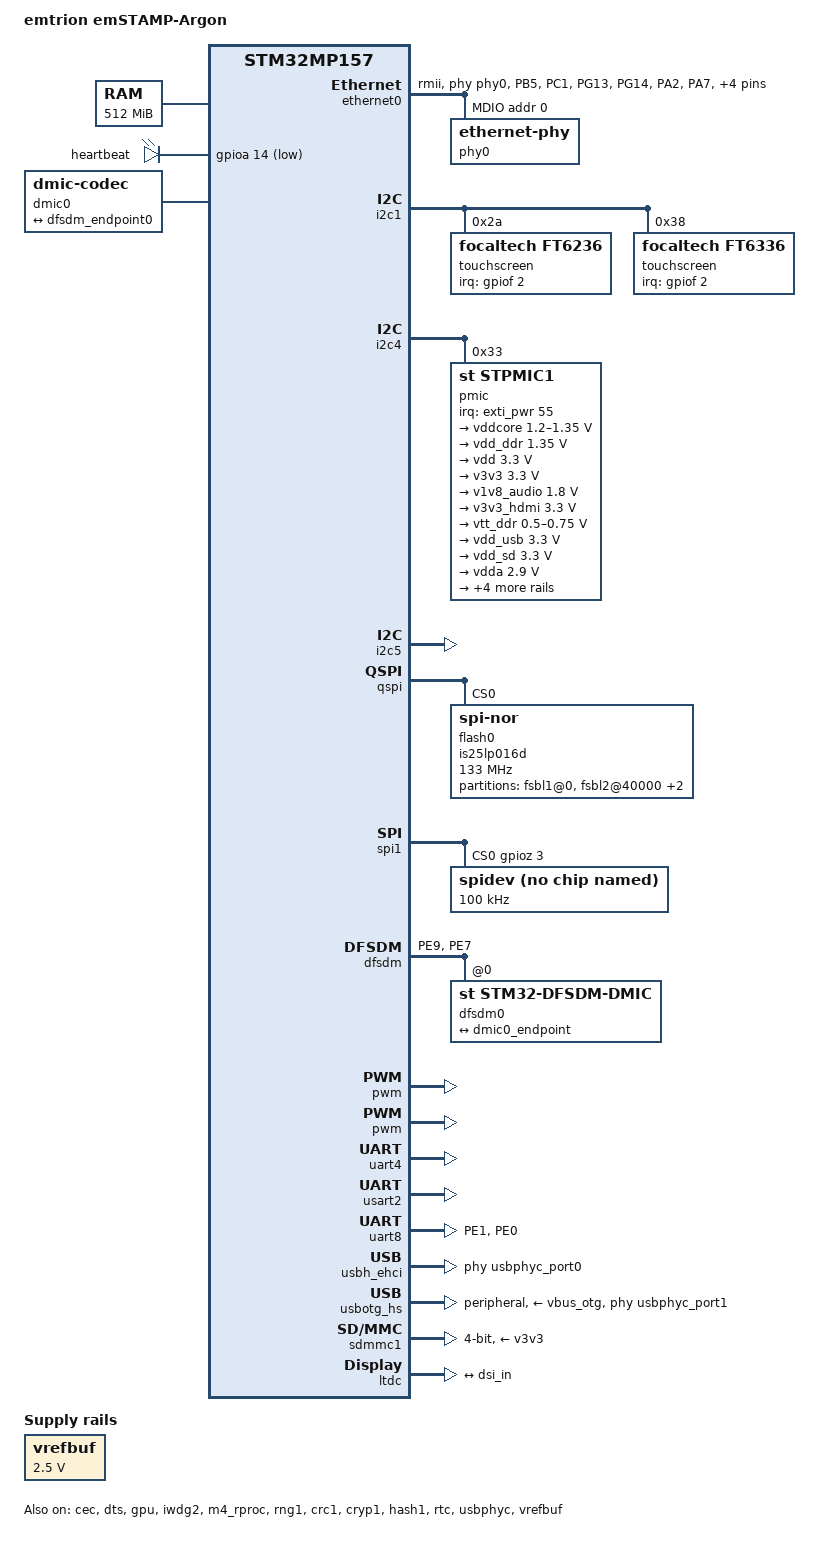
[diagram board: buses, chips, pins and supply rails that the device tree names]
// SPDX-License-Identifier: (GPL-2.0+ OR BSD-3-Clause)
/*
 * Copyright (C) emtrion GmbH 2021 - All Rights Reserved
 * Author: Jan von Wiarda <jan.vonwiarda@emtrion.de>.
 */

#include "stm32mp157.dtsi"
#include "stm32mp15xc.dtsi"
#include "stm32mp15-pinctrl.dtsi"
#include "stm32mp15xxac-pinctrl.dtsi"
#include "stm32mp157-m4-srm.dtsi"
#include "stm32mp157-m4-srm-pinctrl.dtsi"
#include <dt-bindings/gpio/gpio.h>
#include <dt-bindings/input/input.h>
#include <dt-bindings/mfd/st,stpmic1.h>
#include <dt-bindings/rtc/rtc-stm32.h>

/ {
	model = "emtrion emSTAMP-Argon";
	compatible = "emtrion,stm32mp157c-emstamp-argon", "st,stm32mp157";

	aliases {
		ethernet0 = &ethernet0;
		serial0 = &uart4;
		serial1 = &usart3;
		serial2 = &uart7;
		serial3 = &uart8;
		serial4 = &usart2;
	};

	chosen {
		stdout-path = "serial0:115200n8";
	};

	memory@c0000000 {
		reg = <0xc0000000 0x20000000>;
	};

	reserved-memory {
		#address-cells = <1>;
		#size-cells = <1>;
		ranges;

		retram: retram@0x38000000 {
			compatible = "shared-dma-pool";
			reg = <0x38000000 0x10000>;
			no-map;
		};

		mcuram: mcuram@0x30000000 {
			compatible = "shared-dma-pool";
			reg = <0x30000000 0x40000>;
			no-map;
		};

		mcuram2: mcuram2@0x10000000 {
			compatible = "shared-dma-pool";
			reg = <0x10000000 0x40000>;
			no-map;
		};

		vdev0vring0: vdev0vring0@10040000 {
			compatible = "shared-dma-pool";
			reg = <0x10040000 0x2000>;
			no-map;
		};

		vdev0vring1: vdev0vring1@10042000 {
			compatible = "shared-dma-pool";
			reg = <0x10042000 0x2000>;
			no-map;
		};

		vdev0buffer: vdev0buffer@10044000 {
			compatible = "shared-dma-pool";
			reg = <0x10044000 0x4000>;
			no-map;
		};

		gpu_reserved: gpu@dc000000 {
			reg = <0xdc000000 0x4000000>;
			no-map;
		};
	};

	led {
		compatible = "gpio-leds";
		green {
			label = "heartbeat";
			gpios = <&gpioa 14 GPIO_ACTIVE_LOW>;
			linux,default-trigger = "heartbeat";
			default-state = "on";
		};
	};

	sound: sound {
		compatible = "audio-graph-card";
		label = "Supercalifragilisticexpialigetisch";
		dais = <&dfsdm0_port>;
		status = "okay";
	};

	dmic0: dmic-0 {
		compatible = "dmic-codec";
		#sound-dai-cells = <1>;
		status = "okay";

		port {
			dmic0_endpoint: endpoint {
				remote-endpoint = <&dfsdm_endpoint0>;
			};
		};
	};

	usb_phy_tuning: usb-phy-tuning {
		st,hs-dc-level = <2>;
		st,fs-rftime-tuning;
		st,hs-rftime-reduction;
		st,hs-current-trim = <15>;
		st,hs-impedance-trim = <1>;
		st,squelch-level = <3>;
		st,hs-rx-offset = <2>;
		st,no-lsfs-sc;
	};
};

&pinctrl {
	ethernet0_rmii_pins: eth0_mx-0 {
		pins1 {
			pinmux = <STM32_PINMUX('B', 5, AF0)>, /* ETH1_CLK */
				<STM32_PINMUX('C', 1, AF11)>, /* ETH1_MDC */
				<STM32_PINMUX('G', 13, AF11)>, /* ETH1_TXD0 */
				<STM32_PINMUX('G', 14, AF11)>; /* ETH1_TXD1 */
			bias-disable;
			drive-push-pull;
			slew-rate = <1>;
		};
		pins2 {
			pinmux = <STM32_PINMUX('A', 2, AF11)>; /* ETH1_MDIO */
			bias-disable;
			drive-push-pull;
			slew-rate = <0>;
		};
		pins3 {
			pinmux = <STM32_PINMUX('A', 7, AF11)>, /* ETH1_CRS_DV */
				<STM32_PINMUX('C', 4, AF11)>, /* ETH1_RXD0 */
				<STM32_PINMUX('C', 5, AF11)>; /* ETH1_RXD1 */
			bias-disable;
		};
		pins4 {
			pinmux = <STM32_PINMUX('B', 11, AF11)>; /* ETH1_TX_EN */
		};
	};
	ethernet0_rmii_pins_sleep: eth1_sleep_mx-0 {
		pins {
			pinmux = <STM32_PINMUX('A', 2, ANALOG)>, /* ETH1_MDIO */
				<STM32_PINMUX('A', 7, ANALOG)>, /* ETH1_CRS_DV */
				<STM32_PINMUX('B', 5, ANALOG)>, /* ETH1_CLK */
				<STM32_PINMUX('B', 11, ANALOG)>, /* ETH1_TX_EN */
				<STM32_PINMUX('C', 1, ANALOG)>, /* ETH1_MDC */
				<STM32_PINMUX('C', 4, ANALOG)>, /* ETH1_RXD0 */
				<STM32_PINMUX('C', 5, ANALOG)>, /* ETH1_RXD1 */
				<STM32_PINMUX('G', 13, ANALOG)>, /* ETH1_TXD0 */
				<STM32_PINMUX('G', 14, ANALOG)>; /* ETH1_TXD1 */
		};
	};

	dfsdm0_clkout_pins_a: dfsdm0-clkout-pins-0 {
		pins {
			pinmux = <STM32_PINMUX('E', 9, AF3)>; /* DFSDM_CKOUT */
			bias-disable;
			drive-push-pull;
			slew-rate = <0>;
		};
	};

	dfsdm0_clkout_sleep_pins_a: dfsdm0-clkout-sleep-pins-0 {
		pins {
			pinmux = <STM32_PINMUX('E', 9, ANALOG)>; /* DFSDM_CKOUT */
		};
	};

	dfsdm0_data2_pins_a: dfsdm0-data2-pins-0 {
		pins {
			pinmux = <STM32_PINMUX('E', 7, AF3)>; /* DFSDM_DATA2 */
		};
	};

	dfsdm0_data2_sleep_pins_a: dfsdm0-data2-sleep-pins-0 {
		pins {
			pinmux = <STM32_PINMUX('E', 7, ANALOG)>; /* DFSDM_DATA2 */
		};
	};

	pwm1_pins_a: pwm1-0 {
		pins {
			pinmux = <STM32_PINMUX('E', 9, AF1)>; /* TIM1_CH1 */
			bias-pull-down;
			drive-push-pull;
			slew-rate = <0>;
		};
	};

	pwm1_sleep_pins_a: pwm1-sleep-0 {
		pins {
			pinmux = <STM32_PINMUX('E', 9, ANALOG)>; /* TIM1_CH1 */
		};
	};

	uart8_pins_a: uart8-0 {
		pins1 {
			pinmux = <STM32_PINMUX('E', 1, AF8)>; /* UART8_TX */
			bias-disable;
			drive-push-pull;
			slew-rate = <0>;
		};
		pins2 {
			pinmux = <STM32_PINMUX('E', 0, AF8)>; /* UART8_RX */
			bias-disable;
		};
	};

	uart8_sleep_pins_a: uart8-sleep-0 {
		pins {
			pinmux = <STM32_PINMUX('E', 1, ANALOG)>, /* UART8_TX */
				<STM32_PINMUX('E', 0, ANALOG)>; /* UART8_RX */
		};
	};
};

&adc {
	pinctrl-names = "default";
	pinctrl-0 = <&m4_adc12_usb_pwr_pins_a>;
	vdd-supply = <&vdd>;
	vdda-supply = <&vdd>;
	vref-supply = <&vrefbuf>;
	status = "disabled";
	adc1: adc@0 {
		status = "disabled";
	};
	adc2: adc@100 {
		status = "okay";
	};
	adc_temp: temp {
		status = "okay";
	};
};

&cec {
	pinctrl-names = "default", "sleep";
	pinctrl-0 = <&cec_pins_b>;
	pinctrl-1 = <&cec_pins_sleep_b>;
	status = "okay";
};

&pwr_regulators {
	vdd-supply = <&vdd>;
	vdd_3v3_usbfs-supply = <&vdd_usb>;
};

&sram {
	dma_pool: dma_pool@0 {
		reg = <0x50000 0x10000>;
		pool;
	};
};

&dma1 {
	sram = <&dma_pool>;
};

&dma2 {
	sram = <&dma_pool>;
};

&dts {
	status = "okay";
};

&ethernet0 {
	status = "okay";
	snps,reset-gpio = <&gpioa 1 GPIO_ACTIVE_LOW>;
	snps,reset-active-low;
	snps,reset-delays-us = <0 30000 50000>;
	pinctrl-0 = <&ethernet0_rmii_pins>;
	pinctrl-1 = <&ethernet0_rmii_pins_sleep>;
	pinctrl-names = "default", "sleep";
	phy-mode = "rmii";
	max-speed = <100>;
	phy-handle = <&phy0>;
	clock-names = 	"stmmaceth",
			"mac-clk-tx",
			"mac-clk-rx",
			"ethstp",
			"eth-ck",
			"syscfg-clk";
	clocks = <&rcc ETHMAC>,
			 <&rcc ETHTX>,
			 <&rcc ETHRX>,
			 <&rcc ETHSTP>,
			 <&rcc ETHCK_K>,
			 <&rcc SYSCFG>;
	st,eth-ref-clk-sel="true";

	mdio0 {
		#address-cells = <1>;
		#size-cells = <0>;
		compatible = "snps,dwmac-mdio";
		phy0: ethernet-phy@0 {
			reg = <0>;
		};
	};
};

&gpu {
	contiguous-area = <&gpu_reserved>;
	status = "okay";
};

&i2c1 {
	pinctrl-names = "default", "sleep";
	pinctrl-0 = <&i2c1_pins_a>;
	pinctrl-1 = <&i2c1_pins_sleep_a>;
	i2c-scl-rising-time-ns = <100>;
	i2c-scl-falling-time-ns = <7>;
	status = "okay";
	/delete-property/dmas;
	/delete-property/dma-names;
};

&i2c4 {
	pinctrl-names = "default", "sleep";
	pinctrl-0 = <&i2c4_pins_a>;
	pinctrl-1 = <&i2c4_pins_sleep_a>;
	i2c-scl-rising-time-ns = <185>;
	i2c-scl-falling-time-ns = <20>;
	status = "okay";
	/delete-property/dmas;
	/delete-property/dma-names;

	pmic: stpmic@33 {
		compatible = "st,stpmic1";
		reg = <0x33>;
		interrupts-extended = <&exti_pwr 55 IRQ_TYPE_EDGE_FALLING>;
		interrupt-controller;
		#interrupt-cells = <2>;
		status = "okay";

		st,main-control-register = <0x04>;
		st,vin-control-register = <0xc0>;
		st,usb-control-register = <0x20>;

		regulators {
			compatible = "st,stpmic1-regulators";

			ldo1-supply = <&v3v3>;
			ldo3-supply = <&vdd_ddr>;
			ldo6-supply = <&v3v3>;
			pwr_sw1-supply = <&bst_out>;
			pwr_sw2-supply = <&bst_out>;

			vddcore: buck1 {
				regulator-name = "vddcore";
				regulator-min-microvolt = <1200000>;
				regulator-max-microvolt = <1350000>;
				regulator-always-on;
				regulator-initial-mode = <0>;
				regulator-over-current-protection;
			};

			vdd_ddr: buck2 {
				regulator-name = "vdd_ddr";
				regulator-min-microvolt = <1350000>;
				regulator-max-microvolt = <1350000>;
				regulator-always-on;
				regulator-initial-mode = <0>;
				regulator-over-current-protection;
			};

			vdd: buck3 {
				regulator-name = "vdd";
				regulator-min-microvolt = <3300000>;
				regulator-max-microvolt = <3300000>;
				regulator-always-on;
				st,mask-reset;
				regulator-initial-mode = <0>;
				regulator-over-current-protection;
			};

			v3v3: buck4 {
				regulator-name = "v3v3";
				regulator-min-microvolt = <3300000>;
				regulator-max-microvolt = <3300000>;
				regulator-always-on;
				regulator-over-current-protection;
				regulator-initial-mode = <0>;
			};

			v1v8_audio: ldo1 {
				regulator-name = "v1v8_audio";
				regulator-min-microvolt = <1800000>;
				regulator-max-microvolt = <1800000>;
				regulator-always-on;
				interrupts = <IT_CURLIM_LDO1 0>;

			};

			v3v3_hdmi: ldo2 {
				regulator-name = "v3v3_hdmi";
				regulator-min-microvolt = <3300000>;
				regulator-max-microvolt = <3300000>;
				regulator-always-on;
				interrupts = <IT_CURLIM_LDO2 0>;

			};

			vtt_ddr: ldo3 {
				regulator-name = "vtt_ddr";
				regulator-min-microvolt = <500000>;
				regulator-max-microvolt = <750000>;
				regulator-always-on;
				regulator-over-current-protection;
			};

			vdd_usb: ldo4 {
				regulator-name = "vdd_usb";
				regulator-min-microvolt = <3300000>;
				regulator-max-microvolt = <3300000>;
				interrupts = <IT_CURLIM_LDO4 0>;
			};

			vdd_sd: ldo5 {
				regulator-name = "vdd_sd";
				regulator-min-microvolt = <3300000>;
				regulator-max-microvolt = <3300000>;
				interrupts = <IT_CURLIM_LDO5 0>;
				regulator-always-on;
			};

			vdda: ldo6 {
				regulator-name = "vdda";
				regulator-min-microvolt = <2900000>;
				regulator-max-microvolt = <2900000>;
				regulator-always-on;
				interrupts = <IT_CURLIM_LDO6 0>;
				regulator-boot-on;
			};

			vref_ddr: vref_ddr {
				regulator-name = "vref_ddr";
				regulator-always-on;
				regulator-over-current-protection;
			};

			 bst_out: boost {
				regulator-name = "bst_out";
				regulator-always-on;
				interrupts = <IT_OCP_BOOST 0>;
			 };

			vbus_otg: pwr_sw1 {
				regulator-name = "vbus_otg";
				interrupts = <IT_OCP_OTG 0>;
				regulator-active-discharge;
			 };

			vbus_usbh: pwr_sw2 {
				regulator-name = "usbh_vbus";
				interrupts = <IT_OCP_SWOUT 0>;
				regulator-always-on;
				regulator-boot-on;
			 };
		};

		onkey {
			compatible = "st,stpmic1-onkey";
			interrupts = <IT_PONKEY_F 0>, <IT_PONKEY_R 1>;
			interrupt-names = "onkey-falling", "onkey-rising";
			status = "okay";
		};
	};
};

&i2c5 {
	pinctrl-names = "default", "sleep";
	pinctrl-0 = <&i2c5_pins_a>;
	pinctrl-1 = <&i2c5_pins_sleep_a>;
	i2c-scl-rising-time-ns = <185>;
	i2c-scl-falling-time-ns = <20>;
	status = "okay";
	/delete-property/dmas;
	/delete-property/dma-names;
};

&i2s2 {
	status = "disabled";
};

&ipcc {
	status = "okay";
};

&iwdg2 {
	timeout-sec = <32>;
	status = "okay";
};

&m4_rproc {
	memory-region = <&retram>, <&mcuram>, <&mcuram2>, <&vdev0vring0>,
			<&vdev0vring1>, <&vdev0buffer>;
	mboxes = <&ipcc 0>, <&ipcc 1>, <&ipcc 2>;
	mbox-names = "vq0", "vq1", "shutdown";
	interrupt-parent = <&exti>;
	interrupts = <68 1>;
	interrupt-names = "wdg";
	recovery;
	status = "okay";
};

&cpu0{
	clock-frequency = <650000000>;
	cpu-supply = <&vddcore>;
};

&cpu1{
	clock-frequency = <650000000>;
	cpu-supply = <&vddcore>;
};

&qspi {
	pinctrl-names = "default";
	pinctrl-0 = <&qspi_clk_pins_a &qspi_bk1_pins_a>;
	reg = <0x58003000 0x1000>, <0x70000000 0x4000000>;
	#address-cells = <1>;
	#size-cells = <0>;
	status = "okay";

	flash0: is25lp016d@0 {
		compatible = "jedec,spi-nor";
		reg = <0>;
		spi-max-frequency = <133000000>;
		spi-rx-bus-width = <1>;
		spi-tx-bus-width = <1>;
		#address-cells = <1>;
		#size-cells = <1>;

		partitions {
			compatible = "fixed-partitions";
			#address-cells = <1>;
			#size-cells = <1>;

			fsbl1@0 {
				reg = <0x00000000 0x00040000>;
			};

			fsbl2@40000 {
				reg = <0x00040000 0x00040000>;
			};

			ssbl@80000 {
				reg = <0x00080000 0x00100000>;
			};

			nor_user@180000 {
				reg = <0x00180000 0x00080000>;
			};
		};
	};
};

&spi1 {
	pinctrl-names = "default", "sleep";
	pinctrl-0 = <&spi1_pins_a>;
	pinctrl-1 = <&spi1_sleep_pins_a>;
	cs-gpios = <&gpioz 3 0>;
	status = "okay";

	spidev@0  {
		compatible = "spidev";
		reg = <0>;
		spi-max-frequency = <100000>;
	};
};

&dfsdm {
	pinctrl-names = "default", "sleep";
	pinctrl-0 = <&dfsdm0_clkout_pins_a
		&dfsdm0_data2_pins_a>;
	pinctrl-1 = <&dfsdm0_clkout_sleep_pins_a
		&dfsdm0_data2_sleep_pins_a>;
	spi-max-frequency = <2048000>;

	clocks = <&rcc DFSDM_K>, <&rcc ADFSDM_K>;
	clock-names = "dfsdm", "audio";
	status = "okay";

	dfsdm0: filter@0 {
		compatible = "st,stm32-dfsdm-dmic";
		st,adc-channels = <2>;
		st,adc-channel-names = "dmic_u1";
		st,adc-channel-types = "SPI_R";
		st,adc-channel-clk-src = "CLKOUT";
		st,filter-order = <3>;
		status = "okay";

		asoc_pdm0: dfsdm-dai {
			compatible = "st,stm32h7-dfsdm-dai";
			#sound-dai-cells = <0>;
			io-channels = <&dfsdm0 0>;
			status = "okay";

			dfsdm0_port: port {
				dfsdm_endpoint0: endpoint {
					remote-endpoint = <&dmic0_endpoint>;
				};
			};
		};
	};
};

&rng1 {
	status = "okay";
};

&crc1 {
	status = "okay";
};

&cryp1 {
	status = "okay";
};

&hash1 {
	status = "okay";
};

&rtc {
	status = "okay";
};

&sai2 {
	status = "disabled";
};

&timers1 {
	/* spare dmas for other usage */
	/delete-property/dmas;
	/delete-property/dma-names;
	pwm {
		pinctrl-0 = <&pwm1_pins_a>;
		pinctrl-1 = <&pwm1_sleep_pins_a>;
		pinctrl-names = "default", "sleep";
		status = "disabled";
	};
	timer@0 {
		status = "disabled";
	};
};

&timers4 {
	/delete-property/dmas;
	/delete-property/dma-names;
	pwm {
		pinctrl-0 = <&pwm4_pins_b>;
		pinctrl-1 = <&pwm4_sleep_pins_b>;
		pinctrl-names = "default", "sleep";
		status = "okay";
	};
	timer@3 {
		status = "okay";
	};
};

&timers5 {
	/delete-property/dmas;
	/delete-property/dma-names;
	pwm {
		pinctrl-0 = <&pwm5_pins_a>;
		pinctrl-1 = <&pwm5_sleep_pins_a>;
		pinctrl-names = "default", "sleep";
		status = "okay";
	};
	timer@4 {
		status = "okay";
	};
};

&uart4 {
	/delete-property/dmas;
	/delete-property/dma-names;
	pinctrl-names = "default", "sleep", "idle", "no_console_suspend";
	pinctrl-0 = <&uart4_pins_a>;
	pinctrl-1 = <&uart4_sleep_pins_a>;
	pinctrl-2 = <&uart4_idle_pins_a>;
	pinctrl-3 = <&uart4_pins_a>;
	status = "okay";
};

&usart2 {
	pinctrl-names = "default", "sleep", "idle";
	pinctrl-0 = <&usart2_pins_a>;
	pinctrl-1 = <&usart2_sleep_pins_a>;
	pinctrl-2 = <&usart2_idle_pins_a>;
	status = "okay";
};

&uart8 {
	pinctrl-names = "default", "sleep";
	pinctrl-0 = <&uart8_pins_a>;
	pinctrl-1 = <&uart8_sleep_pins_a>;
	status = "okay";
};

&usbh_ehci {
	phys = <&usbphyc_port0>;
	phy-names = "usb";
	status = "okay";
};

&usbotg_hs {
	dr_mode = "peripheral";
	force-b-session-valid;
	vbus-supply = <&vbus_otg>;
	pinctrl-names = "default";
	pinctrl-0 = <&usbotg_hs_pins_a>;
	phys = <&usbphyc_port1 0>;
	phy-names = "usb2-phy";
	status = "okay";
};

&usbphyc {
	vdd3v3-supply = <&vdd_usb>;
	status = "okay";
};

&usbphyc_port0 {
	st,phy-tuning = <&usb_phy_tuning>;
};

&usbphyc_port1 {
	st,phy-tuning = <&usb_phy_tuning>;
};

&vrefbuf {
	regulator-min-microvolt = <2500000>;
	regulator-max-microvolt = <2500000>;
	vdda-supply = <&vdd>;
	status = "okay";
};

&sdmmc1 {
	pinctrl-names = "default", "opendrain", "sleep";
	pinctrl-0 = <&sdmmc1_b4_pins_a>;
	pinctrl-1 = <&sdmmc1_b4_od_pins_a>;
	pinctrl-2 = <&sdmmc1_b4_sleep_pins_a>;
	broken-cd;
	st,neg-edge;
	bus-width = <4>;
	vmmc-supply = <&v3v3>;
	status = "okay";
};


&dsi {
	#address-cells = <1>;
	#size-cells = <0>;
	status = "disabled";

	ports {
		#address-cells = <1>;
		#size-cells = <0>;

		port@0 {
			reg = <0>;
			dsi_in: endpoint {
				remote-endpoint = <&ltdc_ep1_out>;
			};
		};

		port@1 {
			reg = <1>;
			dsi_out: endpoint {
				remote-endpoint = <&panel_in>;
			};
		};
	};

	panel@0 {
		compatible = "orisetech,otm8009a";
		reg = <0>;
		reset-gpios = <&gpioz 7 GPIO_ACTIVE_LOW>;
		status = "okay";

		port {
			panel_in: endpoint {
				remote-endpoint = <&dsi_out>;
			};
		};
	};
};

&i2c1 {
	touchscreen@2a {
		compatible = "focaltech,ft6236";
		reg = <0x2a>;
		interrupts = <2 2>;
		interrupt-parent = <&gpiof>;
		interrupt-controller;
		touchscreen-size-x = <480>;
		touchscreen-size-y = <800>;
		status = "okay";
	};
	touchscreen@38 {
		compatible = "focaltech,ft6336";
		reg = <0x38>;
		interrupts = <2 2>;
		interrupt-parent = <&gpiof>;
		interrupt-controller;
		touchscreen-size-x = <480>;
		touchscreen-size-y = <800>;
		status = "okay";
	};
};

&ltdc {
	status = "okay";

	port {
		#address-cells = <1>;
		#size-cells = <0>;

		ltdc_ep1_out: endpoint@1 {
			reg = <1>;
			remote-endpoint = <&dsi_in>;
		};
	};
};

&rtc {
	st,lsco = <RTC_OUT2_RMP>;
	pinctrl-0 = <&rtc_out2_rmp_pins_a>;
	pinctrl-names = "default";
};

